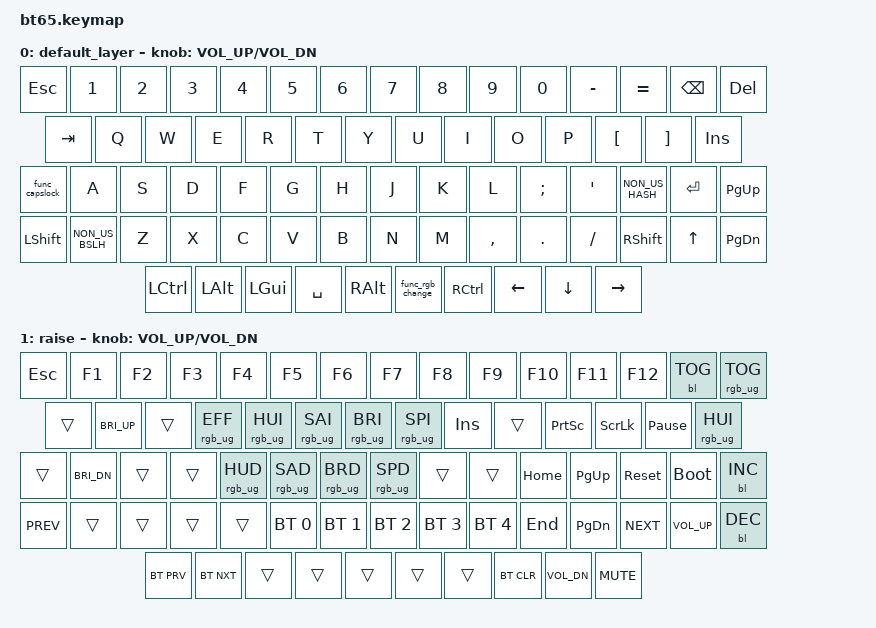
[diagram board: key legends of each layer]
#include <behaviors.dtsi>
#include <dt-bindings/zmk/keys.h>
#include <dt-bindings/zmk/bt.h>
#include <dt-bindings/zmk/rgb.h>
#include <dt-bindings/zmk/backlight.h>
#include <dt-bindings/zmk/ext_power.h>


/ {
	macros {
		func_rgb_change: func_rgb_change {
			label = "func_rgb_change";
            		compatible = "zmk,behavior-macro";
            		#binding-cells = <0>;
			
			wait-ms = <0>;
			tap-ms = <0>;
			bindings
    				= <&macro_press &mo 1>
				, <&macro_tap &rgb_ug RGB_EFF>
    				, <&macro_pause_for_release>
    				, <&macro_release &mo 1>
				, <&macro_tap &rgb_ug RGB_EFR>;
		};
		
		func_capslock: func_capslock {
			label = "func_capslock";
			compatible = "zmk,behavior-macro";
			#binding-cells = <0>;
			
			wait-ms = <0>;
			tap-ms = <100>;
			bindings
				= <&kp CAPS>
				, <&bl BL_TOG>;
		};
	};

	keymap {
		compatible = "zmk,keymap";

		default_layer {
				// ------------------------------------------------------------------------------------------------------------
				// |  `  |  1  |  2  |  3  |  4  |  5  |  6  |  7  |  8  |  9  |  0  |  -  |  =  |BKSP | INS		|
				// | TAB  |  Q  |  W  |  E  |  R  |  T  |  Y  |  U  |  I  |  O  |  P  |  [  |  ]  |   \    | DEL		|
				// | CAPS  |  A  |  S  |  D  |  F  |  G  |  H  |  J  |  K  |  L  |  ;  |  '  |     ENTER    |PGUP	|
				// |  SHIFT  |  Z  |  X  |  C  |  V  |  B  |  N  |  M  |  ,  |  .  | /   |   SHIFT  | UP   | PGDN|
				// |  CTL  |  WIN  |  ALT  |            SPACE               | ALT | 1    |  MENU| LEFT |  DOWN    | RIGHT	|
				// ------------------------------------------------------------------------------------------------------------
			bindings = <

				&kp ESC &kp N1 &kp N2 &kp N3 &kp N4 &kp N5 &kp N6 &kp N7 &kp  N8   &kp  N9   &kp N0 &kp MINUS &kp EQUAL &kp BKSP &kp DEL
				&kp TAB  &kp Q  &kp W  &kp E  &kp R  &kp T  &kp Y  &kp U  &kp  I    &kp  O  &kp  P   &kp LBKT &kp RBKT  	 &kp INS
				&func_capslock  &kp A  &kp S  &kp D  &kp F  &kp G  &kp H  &kp J  &kp  K    &kp  L  &kp SEMI &kp SQT &kp NON_US_HASH 	&kp RET &kp PG_UP
				&kp LSHFT &kp NON_US_BSLH &kp Z  &kp X  &kp C  &kp V  &kp B  &kp N  &kp M  &kp COMMA &kp DOT &kp FSLH   &kp RSHFT &kp UP &kp PG_DN
				&kp LCTRL &kp LALT &kp LGUI            &kp SPACE                          &kp RALT  &func_rgb_change &kp RCTRL &kp LEFT &kp DOWN &kp RIGHT
			>;
			sensor-bindings = <&inc_dec_kp C_VOL_UP C_VOL_DN>;
		};
		raise {
			bindings = <
				&kp ESC &kp F1 &kp F2 &kp F3 &kp F4 &kp F5 &kp F6 &kp F7 &kp  F8   &kp  F9   &kp F10  &kp F11 &kp F12 &bl BL_TOG &rgb_ug RGB_TOG
				&trans &kp C_BRI_UP &trans &rgb_ug RGB_EFF &rgb_ug RGB_HUI &rgb_ug RGB_SAI &rgb_ug RGB_BRI &rgb_ug RGB_SPI &kp INS &trans &kp PSCRN &kp SLCK &kp PAUSE_BREAK  &rgb_ug RGB_HUI
				&trans    &kp C_BRI_DN &trans &trans &rgb_ug RGB_HUD &rgb_ug RGB_SAD &rgb_ug RGB_BRD &rgb_ug RGB_SPD &trans &trans &kp HOME  &kp PG_UP &sys_reset  &bootloader &bl BL_INC
				&kp C_PREV &trans &trans &trans &trans &bt BT_SEL 0 &bt BT_SEL 1 &bt BT_SEL 2 &bt BT_SEL 3 &bt BT_SEL 4 &kp END &kp PG_DN  &kp C_NEXT &kp C_VOL_UP &bl BL_DEC
				&bt BT_PRV &bt BT_NXT  &trans              &trans                            &trans   &trans   &trans &bt BT_CLR &kp C_VOL_DN &kp C_MUTE
			>;
			sensor-bindings = <&inc_dec_kp C_VOL_UP C_VOL_DN>;
		};
	};
};
